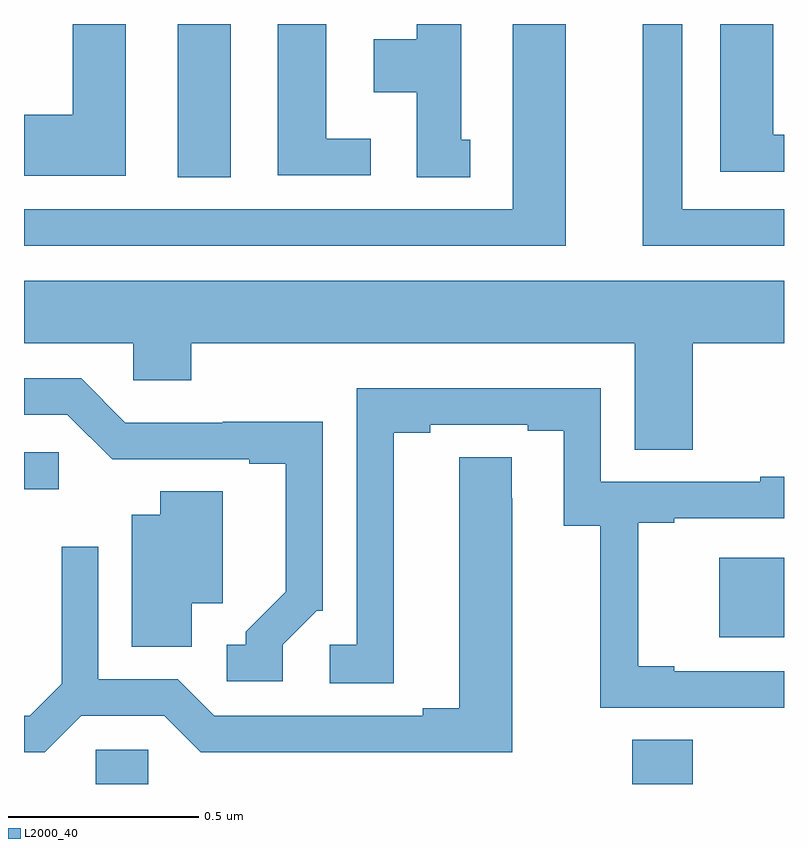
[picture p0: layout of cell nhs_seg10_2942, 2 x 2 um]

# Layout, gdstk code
import gdstk
lib = gdstk.Library(unit=1e-6, precision=1e-09)
def R(c, l, rs):  # rectangles x0, y0, x1, y1
    for r in rs: c.add(gdstk.rectangle(r[:2], r[2:], *l))
def P(c, l, *ps):  # polygons
    for p in ps: c.add(gdstk.Polygon(p, *l))
L2000_40 = (2000, 40)

nhs_seg10_2942 = lib.new_cell('nhs_seg10_2942')
R(nhs_seg10_2942, L2000_40, [(147.189,1288.5,147.327,1288.59), (148.6,1288.5,148.76,1288.616), (148.829,1288.886,149,1289.095), (147,1289.276,147.091,1289.373), (147.404,1290.097,147.544,1290.5)])
P(nhs_seg10_2942, L2000_40, [(147.913,1290.198),(147.796,1290.198),(147.796,1290.5),(147.668,1290.5),(147.668,1290.102),(147.913,1290.102)],
  [(148.174,1290.195),(148.15,1290.195),(148.15,1290.5),(148.034,1290.5),(148.034,1290.46),(147.92,1290.46),(147.92,1290.32),(148.034,1290.32),(148.034,1290.097),(148.174,1290.097)],
  [(148.426,1290.5),(148.286,1290.5),(148.286,1290.012),(147,1290.012),(147,1289.916),(148.426,1289.916)],
  [(149,1290.208),(148.972,1290.208),(148.972,1290.5),(148.832,1290.5),(148.832,1290.111),(149,1290.111)],
  [(147.268,1290.5),(147.128,1290.5),(147.128,1290.261),(147,1290.261),(147,1290.101),(147.268,1290.101)],
  [(149,1290.012),(148.732,1290.012),(148.732,1290.5),(148.628,1290.5),(148.628,1289.916),(149,1289.916)],
  [(148.76,1289.66),(149,1289.66),(149,1289.824),(147,1289.824),(147,1289.66),(147.288,1289.66),(147.288,1289.562),(147.44,1289.562),(147.44,1289.66),(148.607,1289.66),(148.607,1289.38),(148.76,1289.38)],
  [(147.681,1288.866),(147.771,1288.956),(147.786,1288.956),(147.786,1289.453),(147.523,1289.453),(147.523,1289.451),(147.267,1289.451),(147.15,1289.568),(147,1289.568),(147,1289.472),(147.114,1289.472),(147.232,1289.354),(147.328,1289.354),(147.328,1289.355),(147.593,1289.355),(147.593,1289.343),(147.689,1289.343),(147.689,1289.006),(147.584,1288.901),(147.584,1288.866),(147.534,1288.866),(147.534,1288.77),(147.681,1288.77)],
  [(149,1288.797),(148.711,1288.797),(148.711,1288.81),(148.616,1288.81),(148.616,1289.187),(148.711,1289.187),(148.711,1289.199),(149,1289.199),(149,1289.308),(148.937,1289.308),(148.937,1289.295),(148.518,1289.295),(148.518,1289.541),(147.876,1289.541),(147.876,1288.866),(147.804,1288.866),(147.804,1288.765),(147.973,1288.765),(147.973,1289.425),(148.069,1289.425),(148.069,1289.445),(148.325,1289.445),(148.325,1289.43),(148.421,1289.43),(148.421,1289.179),(148.516,1289.179),(148.516,1288.701),(149,1288.701)],
  [(147.151,1288.68),(147.369,1288.68),(147.465,1288.584),(148.285,1288.584),(148.285,1289.252),(148.284,1289.252),(148.284,1289.36),(148.145,1289.36),(148.145,1288.7),(148.049,1288.7),(148.049,1288.68),(147.501,1288.68),(147.405,1288.776),(147.195,1288.776),(147.195,1289.125),(147.099,1289.125),(147.099,1288.764),(147.015,1288.68),(147,1288.68),(147,1288.584),(147.055,1288.584)],
  [(147.442,1288.976),(147.523,1288.976),(147.523,1289.27),(147.359,1289.27),(147.359,1289.209),(147.284,1289.209),(147.284,1288.861),(147.442,1288.861)])

lib.write_gds('nhs_seg10_2942.gds')
